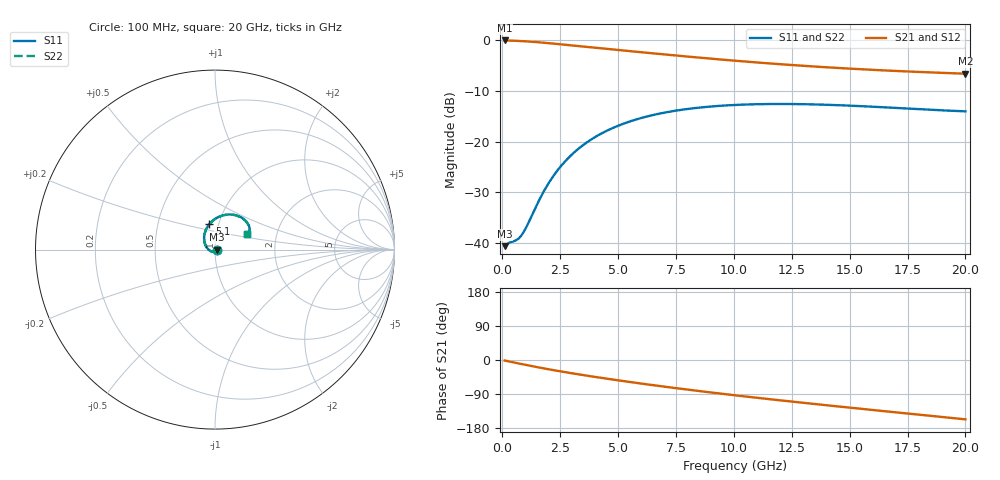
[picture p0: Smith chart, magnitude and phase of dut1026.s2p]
! Touchstone file exported from HFSS 2024.1.0
!  File:  C:/UserFiles/LocalFiles/RDL_TSV_Batchsim/temp_RDL_TSV_1026_1780082943.aedt
!  Generated:  03:42:13 AM May 30, 2026
!  Design:  RDL_TSV
!  Project:  temp_RDL_TSV_1026_1780082943
!  Setup:  Setup1
!  Solution:  Sweep
! Variables:
!  dtsv = 7.38um
!  hbump = 3um
!  htsv = 71.22um
!  ldown = 491.13um
!  lrdl = 200.44um
!  p = 40
!  p1 = 42.79um
!  rhole = 10um
!  subl = 2275.15um
!  t = 450um
!  tdown = 4.35um
!  trdl = 3.21um
!  viad = 10um
!  wdown = 26.78um
!  wrdl = 28.3um
!  xbump = 18um
# GHz S MA R 50.000000
! Terminal data exported
! Port[1] = TM1_1_T1
! Port[2] = TM1_4_T1
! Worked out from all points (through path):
!   200 points, 100 MHz to 20 GHz, reference 50 ohm
!   highest |S21| = -0.08 dB at 100 MHz (marker M1); lowest = -6.6 dB at 20 GHz (marker M2)
!   group delay of S21, straight-line fit = 20.7 ps
!   lowest |S11| = -40.6 dB at 100 MHz (marker M3), VSWR 1.02, Z = 50.9 - j0.0977 ohm
!   |S11| at or under -10 dB: start of sweep to end of sweep
!   |S22| runs from -40.6 to -12.6 dB; largest |S21 - S12| = 1.1e-14
!   S11 on the Smith chart (normalised r, x): 100 MHz: 1.02, -0.00; 5.1 GHz: 0.90, +0.26; 20 GHz: 1.40, +0.26
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0.1  0.009304 -5.9  0.9904 -1.4  0.9904 -1.4  0.009304 -5.9
! Gamma 0 0 0 0
! Port Impedance 50 0 50 0
0.3  0.01006 -25.0  0.9876 -4.0  0.9876 -4.0  0.01006 -25.0
0.6  0.01065 -61.9  0.982 -7.8  0.982 -7.8  0.01066 -61.8
0.8  0.01167 -88.3  0.9771 -10.3  0.9771 -10.3  0.01168 -88.2
1  0.0138 -113.0  0.9713 -12.8  0.9713 -12.8  0.01379 -112.9
1.7  0.02952 -169.5  0.9449 -21.1  0.9449 -21.1  0.02947 -169.4
2.2  0.04552 167.7  0.9226 -26.6  0.9226 -26.6  0.04542 167.8
2.5  0.05605 157.2  0.9087 -29.8  0.9087 -29.8  0.05591 157.3
2.8  0.06692 148.2  0.8947 -32.9  0.8947 -32.9  0.06675 148.2
3.5  0.09256 130.8  0.8625 -39.9  0.8625 -39.9  0.09231 130.9
4.2  0.1172 116.9  0.8315 -46.5  0.8315 -46.5  0.1169 116.9
5.1  0.1459 102.3  0.7937 -54.5  0.7937 -54.5  0.1455 102.3
5.9  0.1679 91.4  0.7621 -61.4  0.7621 -61.4  0.1674 91.4
6.8  0.1885 81.0  0.7285 -68.8  0.7285 -68.8  0.1879 80.9
8.3  0.2132 66.6  0.6773 -80.4  0.6773 -80.4  0.2125 66.6
10.1  0.2295 53.3  0.6242 -93.5  0.6242 -93.5  0.2287 53.2
11.7  0.2343 44.1  0.5844 -104.5  0.5844 -104.5  0.2334 44.0
13.4  0.2322 36.5  0.5495 -115.6  0.5495 -115.6  0.2313 36.5
15  0.2257 31.4  0.5226 -125.7  0.5226 -125.7  0.2247 31.4
16.7  0.2161 27.9  0.4993 -136.3  0.4993 -136.3  0.2151 27.9
18.3  0.2066 26.4  0.4815 -146.1  0.4815 -146.1  0.2056 26.4
20  0.1982 26.7  0.4659 -156.6  0.4659 -156.6  0.1972 26.7
